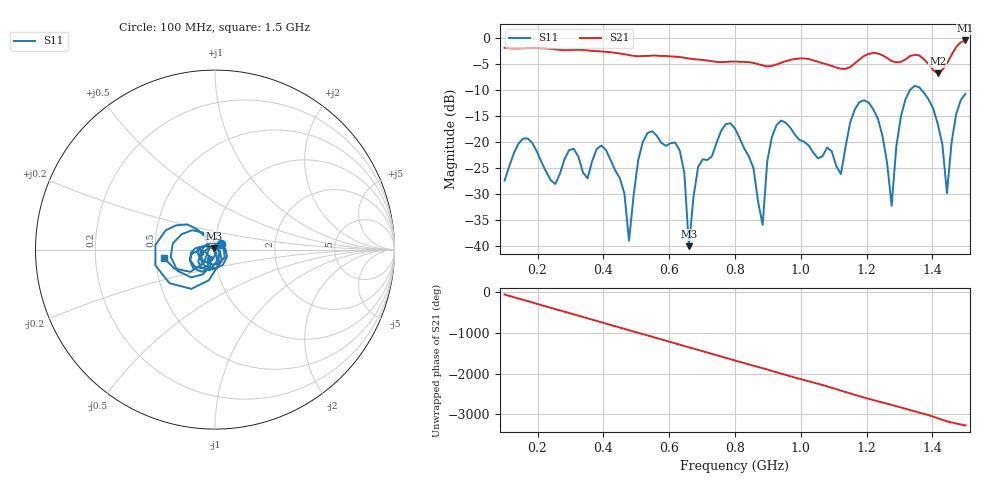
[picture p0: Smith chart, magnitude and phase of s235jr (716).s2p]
! NanoVNA-App
! Date: 2025-09-25 15:09:44
! Start: 100MHz Stop: 1,5GHz Points: 101
! S-Parameter data: F S11 S21 S12 S22
# Hz S RI R 50
!  Frequency  S11_Real  S11_Imag  S21_Real  S21_Imag  S12_Real  S12_Imag  S22_Real  S22_Imag
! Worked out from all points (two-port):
!   101 points, 100 MHz to 1.5 GHz, reference 50 ohm
!   highest |S21| = -0.55 dB at 1.5 GHz (marker M1); lowest = -6.9 dB at 1.416 GHz (marker M2)
!   |S21| within 3 dB of the highest: start of sweep to 499.8 MHz; 515.7 MHz to 594.9 MHz (79.26 MHz wide, 14.3 % of centre) (the widest 2 of 5)
!   lowest |S11| = -40.1 dB at 660 MHz (marker M3), VSWR 1.02, Z = 49.2 + j0.628 ohm
!   |S11| at or under -10 dB: start of sweep to 1.332 GHz; 1.366 GHz to end of sweep
!   S12 and S22 are empty: the file has one direction only
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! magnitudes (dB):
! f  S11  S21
! 100 MHz  -27.5  -2.0
! 156 MHz  -19.4  -2.0
! 338 MHz  -25.9  -2.4
! 408 MHz  -21.6  -2.7
! 478 MHz  -39.0  -3.4
! 520 MHz  -20.0  -3.5
! 576 MHz  -20.2  -3.5
! 632 MHz  -21.7  -3.7
! 660 MHz  -40.1  -4.0
! 688 MHz  -24.8  -4.2
! 800 MHz  -17.5  -4.6
! 884 MHz  -36.0  -5.4
! 926 MHz  -16.8  -5.2
! 1.038 GHz  -22.1  -4.4
! 1.122 GHz  -26.2  -6.0
! 1.206 GHz  -12.5  -3.1
! 1.276 GHz  -32.3  -4.5
! 1.304 GHz  -15.2  -4.6
! 1.332 GHz  -10.0  -3.5
! 1.416 GHz  -16.6  -6.9
! 1.444 GHz  -29.9  -4.9
! 1.5 GHz  -10.8  -0.5
